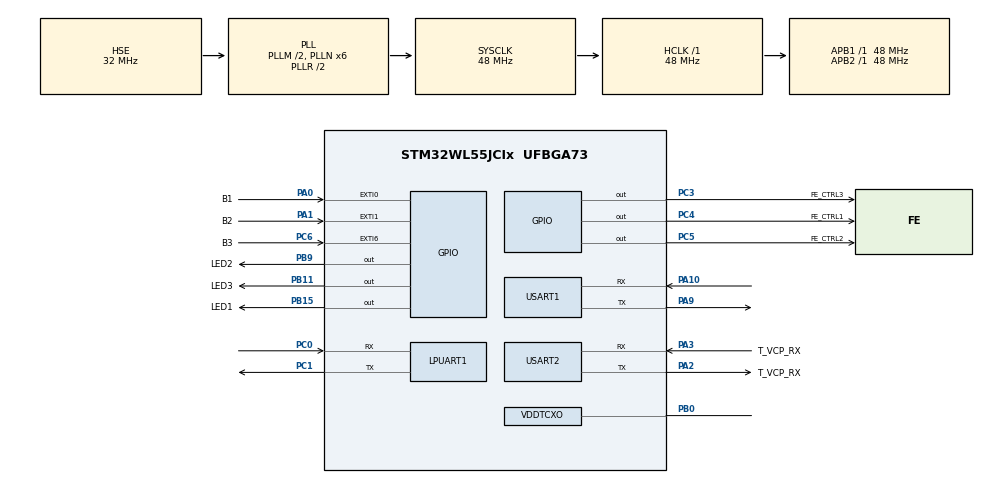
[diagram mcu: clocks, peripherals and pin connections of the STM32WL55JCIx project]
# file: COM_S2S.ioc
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Dma.LPUART1_RX.0.Channel_PRIV_NPRIV=DMA_CHANNEL_NPRIV_DISABLE
Dma.LPUART1_RX.0.Direction=DMA_PERIPH_TO_MEMORY
Dma.LPUART1_RX.0.EventEnable=DISABLE
Dma.LPUART1_RX.0.Instance=DMA1_Channel1
Dma.LPUART1_RX.0.MemDataAlignment=DMA_MDATAALIGN_BYTE
Dma.LPUART1_RX.0.MemInc=DMA_MINC_ENABLE
Dma.LPUART1_RX.0.Mode=DMA_NORMAL
Dma.LPUART1_RX.0.PeriphDataAlignment=DMA_PDATAALIGN_BYTE
Dma.LPUART1_RX.0.PeriphInc=DMA_PINC_DISABLE
Dma.LPUART1_RX.0.Polarity=HAL_DMAMUX_REQ_GEN_RISING
Dma.LPUART1_RX.0.Priority=DMA_PRIORITY_LOW
Dma.LPUART1_RX.0.RequestNumber=1
Dma.LPUART1_RX.0.SignalID=NONE
Dma.LPUART1_RX.0.SyncEnable=DISABLE
Dma.LPUART1_RX.0.SyncPolarity=HAL_DMAMUX_SYNC_NO_EVENT
Dma.LPUART1_RX.0.SyncRequestNumber=1
Dma.LPUART1_RX.0.SyncSignalID=NONE
Dma.LPUART1_TX.1.Channel_PRIV_NPRIV=DMA_CHANNEL_NPRIV_DISABLE
Dma.LPUART1_TX.1.Direction=DMA_MEMORY_TO_PERIPH
Dma.LPUART1_TX.1.EventEnable=DISABLE
Dma.LPUART1_TX.1.Instance=DMA1_Channel2
Dma.LPUART1_TX.1.MemDataAlignment=DMA_MDATAALIGN_BYTE
Dma.LPUART1_TX.1.MemInc=DMA_MINC_ENABLE
Dma.LPUART1_TX.1.Mode=DMA_NORMAL
Dma.LPUART1_TX.1.PeriphDataAlignment=DMA_PDATAALIGN_BYTE
Dma.LPUART1_TX.1.PeriphInc=DMA_PINC_DISABLE
Dma.LPUART1_TX.1.Polarity=HAL_DMAMUX_REQ_GEN_RISING
Dma.LPUART1_TX.1.Priority=DMA_PRIORITY_LOW
Dma.LPUART1_TX.1.RequestNumber=1
Dma.LPUART1_TX.1.SignalID=NONE
Dma.LPUART1_TX.1.SyncEnable=DISABLE
Dma.LPUART1_TX.1.SyncPolarity=HAL_DMAMUX_SYNC_NO_EVENT
Dma.LPUART1_TX.1.SyncRequestNumber=1
Dma.LPUART1_TX.1.SyncSignalID=NONE
Dma.Request0=LPUART1_RX
Dma.Request1=LPUART1_TX
Dma.Request2=USART2_RX
Dma.Request3=USART2_TX
Dma.USART2_RX.2.Channel_PRIV_NPRIV=DMA_CHANNEL_NPRIV_DISABLE
Dma.USART2_RX.2.Direction=DMA_PERIPH_TO_MEMORY
Dma.USART2_RX.2.EventEnable=DISABLE
Dma.USART2_RX.2.Instance=DMA1_Channel3
Dma.USART2_RX.2.MemDataAlignment=DMA_MDATAALIGN_BYTE
Dma.USART2_RX.2.MemInc=DMA_MINC_ENABLE
Dma.USART2_RX.2.Mode=DMA_NORMAL
Dma.USART2_RX.2.PeriphDataAlignment=DMA_PDATAALIGN_BYTE
Dma.USART2_RX.2.PeriphInc=DMA_PINC_DISABLE
Dma.USART2_RX.2.Polarity=HAL_DMAMUX_REQ_GEN_RISING
Dma.USART2_RX.2.Priority=DMA_PRIORITY_LOW
Dma.USART2_RX.2.RequestNumber=1
Dma.USART2_RX.2.SignalID=NONE
Dma.USART2_RX.2.SyncEnable=DISABLE
Dma.USART2_RX.2.SyncPolarity=HAL_DMAMUX_SYNC_NO_EVENT
Dma.USART2_RX.2.SyncRequestNumber=1
Dma.USART2_RX.2.SyncSignalID=NONE
Dma.USART2_TX.3.Channel_PRIV_NPRIV=DMA_CHANNEL_NPRIV_DISABLE
Dma.USART2_TX.3.Direction=DMA_MEMORY_TO_PERIPH
Dma.USART2_TX.3.EventEnable=DISABLE
Dma.USART2_TX.3.Instance=DMA1_Channel4
Dma.USART2_TX.3.MemDataAlignment=DMA_MDATAALIGN_BYTE
Dma.USART2_TX.3.MemInc=DMA_MINC_ENABLE
Dma.USART2_TX.3.Mode=DMA_NORMAL
Dma.USART2_TX.3.PeriphDataAlignment=DMA_PDATAALIGN_BYTE
Dma.USART2_TX.3.PeriphInc=DMA_PINC_DISABLE
Dma.USART2_TX.3.Polarity=HAL_DMAMUX_REQ_GEN_RISING
Dma.USART2_TX.3.Priority=DMA_PRIORITY_LOW
Dma.USART2_TX.3.RequestNumber=1
Dma.USART2_TX.3.SignalID=NONE
Dma.USART2_TX.3.SyncEnable=DISABLE
Dma.USART2_TX.3.SyncPolarity=HAL_DMAMUX_SYNC_NO_EVENT
Dma.USART2_TX.3.SyncRequestNumber=1
Dma.USART2_TX.3.SyncSignalID=NONE
Mcu.Family=STM32WL
Mcu.Name=STM32WL55JCIx
Mcu.Package=UFBGA73
NVIC.DMA1_Channel1_IRQn=true\:0\:0\:false\:false\:true\:false\:true\:true
NVIC.DMA1_Channel2_IRQn=true\:0\:0\:false\:false\:true\:false\:true\:true
NVIC.DMA1_Channel3_IRQn=true\:0\:0\:false\:false\:true\:false\:true\:true
NVIC.DMA1_Channel4_IRQn=true\:0\:0\:false\:false\:true\:false\:true\:true
NVIC.LPUART1_IRQn=true\:0\:0\:false\:false\:true\:true\:true\:true
NVIC.PriorityGroup=NVIC_PRIORITYGROUP_4
NVIC.SUBGHZ_Radio_IRQn=true\:0\:0\:false\:false\:true\:true\:true\:true
NVIC.USART1_IRQn=true\:0\:0\:false\:false\:true\:true\:true\:true
NVIC.USART2_IRQn=true\:0\:0\:false\:false\:true\:true\:true\:true
OSC_IN.Mode=HSE-TCXO
OSC_IN.Signal=RCC_OSC_IN
PA0.GPIO_Label=B1
PA0.GPIO_ModeDefaultEXTI=GPIO_MODE_IT_FALLING
PA0.GPIO_PuPd=GPIO_PULLUP
PA0.Signal=GPXTI0
PA1.GPIO_Label=B2
PA1.GPIO_ModeDefaultEXTI=GPIO_MODE_IT_FALLING
PA1.GPIO_PuPd=GPIO_PULLUP
PA1.Signal=GPXTI1
PA10.Mode=Asynchronous
PA10.Signal=USART1_RX
PA13.Mode=Serial_Wire
PA13.Signal=DEBUG_JTMS-SWDIO
PA14.Mode=Serial_Wire
PA14.Signal=DEBUG_JTCK-SWCLK
PA2.GPIO_Label=T_VCP_RX
PA2.Mode=Asynchronous
PA2.Signal=USART2_TX
PA3.GPIO_Label=T_VCP_RX
PA3.Mode=Asynchronous
PA3.Signal=USART2_RX
PA9.Mode=Asynchronous
PA9.Signal=USART1_TX
PB0-VDD_TCXO.Mode=HSE-TCXO
PB0-VDD_TCXO.Signal=VDDTCXO
PB11.GPIO_Label=LED3
PB11.GPIO_Speed=GPIO_SPEED_FREQ_HIGH
PB11.Signal=GPIO_Output
PB15.GPIO_Label=LED1
PB15.GPIO_Speed=GPIO_SPEED_FREQ_HIGH
PB15.Signal=GPIO_Output
PB9.GPIO_FM9=__NULL
PB9.GPIO_Label=LED2
PB9.GPIO_Speed=GPIO_SPEED_FREQ_HIGH
PB9.Signal=GPIO_Output
PC0.Mode=Asynchronous
PC0.Signal=LPUART1_RX
PC1.Mode=Asynchronous
PC1.Signal=LPUART1_TX
PC14-OSC32_IN.Signal=RCC_OSC32_IN
PC15-OSC32_OUT.Signal=RCC_OSC32_OUT
PC3.GPIO_Label=FE_CTRL3
PC3.GPIO_Speed=GPIO_SPEED_FREQ_VERY_HIGH
PC3.Signal=GPIO_Output
PC4.GPIO_Label=FE_CTRL1
PC4.GPIO_Speed=GPIO_SPEED_FREQ_VERY_HIGH
PC4.Signal=GPIO_Output
PC5.GPIO_Label=FE_CTRL2
PC5.GPIO_Speed=GPIO_SPEED_FREQ_VERY_HIGH
PC5.Signal=GPIO_Output
PC6.GPIO_Label=B3
PC6.GPIO_ModeDefaultEXTI=GPIO_MODE_IT_FALLING
PC6.GPIO_PuPd=GPIO_PULLUP
PC6.Signal=GPXTI6
ProjectManager.HeapSize=0x200
ProjectManager.StackSize=0x400
ProjectManager.TargetToolchain=STM32CubeIDE
RCC.AHBFreq_Value=48000000
RCC.APB1Freq_Value=48000000
RCC.APB1TimFreq_Value=48000000
RCC.APB2Freq_Value=48000000
RCC.APB2TimFreq_Value=48000000
RCC.APB3Freq_Value=48000000
RCC.CortexFreq_Value=48000000
RCC.HCLKFreq_Value=48000000
RCC.HSE_VALUE=32000000
RCC.HSI_VALUE=16000000
RCC.LSE_VALUE=32768
RCC.PLLM=RCC_PLLM_DIV2
RCC.PLLN=6
RCC.PLLSourceVirtual=RCC_PLLSOURCE_HSE
RCC.SYSCLKFreq_VALUE=48000000
RCC.SYSCLKSource=RCC_SYSCLKSOURCE_PLLCLK
RCC.VCOOutputFreq_Value=96000000
TIM2.Period=1000001-1
TIM2.Prescaler=48-1
USART1.VirtualMode-Asynchronous=VM_ASYNC
USART2.VirtualMode-Asynchronous=VM_ASYNC
VP_ADV_TRACE_VS_ADV_TRACE.Mode=ADV_TRACE_Enabled
VP_MISC_VS_MISC.Mode=MISC_Enabled
VP_SEQUENCER_M4_VS_SEQUENCER.Mode=SEQUENCER_Enabled
VP_SUBGHZ_PHY_VS_SubGhzPhy.Mode=SubGhzPhy_Enabled
VP_SUBGHZ_VS_SUBGHZ.Mode=SUBGHZ_Activate
VP_TIM2_VS_ClockSourceINT.Mode=Internal
VP_TIMER_VS_TIMER.Mode=TIMER_Enabled
VP_TINY_LPM_VS_TINY_LPM.Mode=TINY_LPM_Enabled
board=NUCLEO-WL55JC2

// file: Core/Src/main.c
/* USER CODE BEGIN Header */
/**
 ******************************************************************************
 * @file           : main.c
 * @brief          : Main program body
 ******************************************************************************
 * @attention
 *
 * Copyright (c) 2024 STMicroelectronics.
 * All rights reserved.
 *
 * This software is licensed under terms that can be found in the LICENSE file
 * in the root directory of this software component.
 * If no LICENSE file comes with this software, it is provided AS-IS.
 *
 ******************************************************************************
 */
/* USER CODE END Header */
#include "main.h"
#include "dma.h"
#include "usart.h"
#include "app_subghz_phy.h"
#include "tim.h"
#include "gpio.h"

/* USER CODE BEGIN Includes */
#include "radio_driver.h"
#include "com_debug.h"
#include "error_handler.h"
#include "ax25_generator.h"
#include "obc_interface.h"
/* USER CODE END Includes */

/* USER CODE BEGIN PTD */

#define RX_BUFF_LENGTH		(100)
#define OBC_PAYLOAD_LENGTH	(85)

#define FREQ_435_MHZ            (435313000) //UP-LINK
#define FREQ_437_MHZ			(437375000)	//DOWN-LINK

#define PA_DUTY_CYCLE           (0x04)
#define HP_MAX                  (0x00)
#define PA_SEL                  (0x01)

#define POWER                   (0x0E)
#define RAMP_TIME               (0x02)

#define DEMO_DEFAULT_BR_1200            1200
#define DEMO_DEFAULT_FDEV_1200          3000

#define DEMO_DEFAULT_BR_4800            4800
#define DEMO_DEFAULT_FDEV_4800          12000
/* USER CODE END PTD */

/* USER CODE BEGIN PD */
PacketParams_t pkt_params;
ModulationParams_t mod_params;
/* USER CODE END PD */

/* USER CODE BEGIN PV */

uint8_t rx_buffer_len = RX_BUFF_LENGTH;
uint8_t rx_buffer[RX_BUFF_LENGTH];

uint8_t rssi_value = 0;

uint8_t obc_plen = OBC_PAYLOAD_LENGTH;
uint8_t obc_ilen = 0;

uint8_t OBC_UART_RX[OBC_PAYLOAD_LENGTH];

int OBC_SUCCESS_DATA_RX_FLAG = 0;

uint8_t temp_tx_buffer[150];
uint8_t tx_buffer[150];
int tx_buffer_len = 0;

int OBC_HANDSHAKE_FLAG = 0;

int DIGIPEATER_STATUS = 0;
int BEACON_COUNT = 2;
int COUNT_BEACON = 2;

uint8_t PACKET_TYPE = 0;
int DIGIPEATER_FLAG = 0;
int DIGIPEATER_RX_FLAG = 0;

int packet_type_true = 0;

/* USER CODE END PV */

void SystemClock_Config(void);
/* USER CODE BEGIN PFP */
void DioIrqHndlr(RadioIrqMasks_t radioIrq);
int countsDataBetweenFlags(uint8_t *data, int data_length);
/* USER CODE END PFP */

/* USER CODE BEGIN 0 */
int countsDataBetweenFlags(uint8_t *data, int data_length) {
	int found_first_7e = 0;
	int start_index = 0, end_index = 0;

	for (int i = 0; i < data_length; i++) {
		if (data[i] == 0x7e) {
			if (!found_first_7e) {
				found_first_7e = 1;
				start_index = i;
			} else {
				end_index = i;
				break;
			}
		}
	}

	if (end_index > start_index) {
		return end_index - start_index + 1;
	} else {
		return -1; // Return -1 if two 0x7E flags are not found
	}
}
/* USER CODE END 0 */

int main(void) {

	/* MCU Configuration--------------------------------------------------------*/

	/* Reset of all peripherals, Initializes the Flash interface and the Systick. */
	HAL_Init();

	/* Configure the system clock */
	SystemClock_Config();

	/* Initialize all configured peripherals */
	MX_GPIO_Init();
	MX_DMA_Init();
	MX_USART2_UART_Init();
	MX_LPUART1_UART_Init();
	MX_TIM2_Init();
	MX_USART1_UART_Init();
	MX_SubGHz_Phy_Init();
	/* USER CODE BEGIN 2 */

	HAL_TIM_Base_Start(&htim2);

	myDebug("########## Slippers2Sat SATELLITE COM: BEGIN ##########\r\n");
	myDebug("########## COMMUNICATION PARAMETERS ##########\r\n");
	myDebug("Modulation: GFSK PACKET\r\n");
	myDebug("FREQUENCY MODES: DOWNLINK FREQ: %luHz and UPLINK FREQ: %lu Hz\r\n",
	FREQ_437_MHZ, FREQ_435_MHZ);
	myDebug("STM32 BSP_SubGHz-WL Radio: Low Power\n");
	myDebug(
			"POWER CONFIG:::- \n"
					"\t PA_DUTY_CYCLE: %x, HP_MAX: %x, PA_SEL: %x, POWER TX: %u dBm\r\n",
			PA_DUTY_CYCLE, HP_MAX, PA_SEL, POWER);

	myDebug("\n########## Wait for Handshake ##########\r\n");

	pkt_params.PacketType = PACKET_TYPE_GFSK;
	pkt_params.Params.Gfsk.PayloadLength = RX_BUFF_LENGTH;
	pkt_params.Params.Gfsk.PreambleLength = 8; /*Convert byte into bit*/
	pkt_params.Params.Gfsk.PreambleMinDetect = RADIO_PREAMBLE_DETECTOR_08_BITS;
	pkt_params.Params.Gfsk.SyncWordLength = 3 << 3; // convert byte into bit
	pkt_params.Params.Gfsk.AddrComp = RADIO_ADDRESSCOMP_FILT_OFF;
	pkt_params.Params.Gfsk.HeaderType = RADIO_PACKET_FIXED_LENGTH;
	pkt_params.Params.Gfsk.CrcLength = RADIO_CRC_2_BYTES_CCIT;
	pkt_params.Params.Gfsk.DcFree = RADIO_DC_FREEWHITENING;

	mod_params.PacketType = PACKET_TYPE_GFSK;
	mod_params.Params.Gfsk.Bandwidth = RX_BW_29300; /*Not used in TX*/
	mod_params.Params.Gfsk.BitRate = DEMO_DEFAULT_BR_1200;
	mod_params.Params.Gfsk.Fdev = DEMO_DEFAULT_FDEV_1200;
	mod_params.Params.Gfsk.ModulationShaping = MOD_SHAPING_G_BT_1;

	SUBGRF_Init(DioIrqHndlr);
	SUBGRF_SetBufferBaseAddress(0x00, 0x00);
	SUBGRF_SetPacketParams(&pkt_params);
	SUBGRF_SetSyncWord(( uint8_t[] ) { 0xC1, 0x94, 0xC1, 0x00, 0x00, 0x00, 0x00,
					0x00 });
	SUBGRF_SetWhiteningSeed(0x01FF);
	SUBGRF_SetRfFrequency(FREQ_435_MHZ);
	SUBGRF_SetPaConfig(PA_DUTY_CYCLE, HP_MAX, PA_SEL, 0x01);
	SUBGRF_SetTxParams(RFO_LP, POWER, RAMP_TIME); // Set to RFO_LP for low power
	SUBGRF_SetModulationParams(&mod_params);
	SUBGRF_SetDioIrqParams(
			IRQ_TX_DONE | IRQ_PREAMBLE_DETECTED | IRQ_RX_DONE
					| IRQ_RX_TX_TIMEOUT | IRQ_SYNCWORD_VALID,
			IRQ_TX_DONE | IRQ_PREAMBLE_DETECTED | IRQ_RX_DONE
					| IRQ_RX_TX_TIMEOUT | IRQ_SYNCWORD_VALID, IRQ_RADIO_NONE,
			IRQ_RADIO_NONE);

	while (OBC_HANDSHAKE_FLAG == 0) {
		WAIT_FOR_HANDSHAKE();
	}

	myDebug(
			"\n########## Operation Starts, Perform any one operation: ##########\r\n");
	myDebug("1. Transmit from Satellite\r\n");
	myDebug("2. Wait to receive GS Command\r\n");

	myDebug("\n########## RX Configuration: ##########\n");

	myDebug("FREQUENCY MODS: UPLINK FREQ: %lu Hz\r\n", FREQ_435_MHZ);
	myDebug("Bit Rate: 	%d\n\r", mod_params.Params.Gfsk.BitRate);
	myDebug("Frequency Deviation: 	%d\n\r", mod_params.Params.Gfsk.Fdev);
	myDebug("RECEVING BANDWIDTH: 	%d\n\r", mod_params.Params.Gfsk.Bandwidth);
	myDebug("Packet Type 			%d\n\r", pkt_params.PacketType);
	myDebug("PayloadLength 			%d\n\r", pkt_params.Params.Gfsk.PayloadLength);
	myDebug("PreambleLength 		%d\n\r", pkt_params.Params.Gfsk.PreambleLength);
	myDebug("PreambleMinDetect		%d\n\r",
			pkt_params.Params.Gfsk.PreambleMinDetect);
	myDebug("HeaderType 			%d\n\r", pkt_params.Params.Gfsk.HeaderType);
	myDebug("__________*******************__________\r\n");

	SUBGRF_SetRfFrequency(FREQ_435_MHZ);
	SUBGRF_SetSwitch(RFO_LP, RFSWITCH_RX); /*Set RF switch*/
	SUBGRF_SetRxBoosted(0xFFFFFF);

	HAL_UART_Receive_DMA(&huart2, OBC_UART_RX, obc_plen);

	HAL_UART_Receive_DMA(&hlpuart1, OBC_UART_RX, obc_plen);

	/* USER CODE END 2 */

	/* Infinite loop */
	/* USER CODE BEGIN WHILE */
	while (1) {

		delay_us(500000);

		if (OBC_SUCCESS_DATA_RX_FLAG) {

			getAX25Packet(OBC_UART_RX, obc_ilen);

			tx_buffer_len = countsDataBetweenFlags(temp_tx_buffer,
					sizeof(temp_tx_buffer));

//			myDebug("AX.25 complete GS packet ready to TX: 0x%x\r\n", temp_tx_buffer);
			for (int j = 0; j < tx_buffer_len; j++) {
				tx_buffer[j] = temp_tx_buffer[j];
//				myDebug("%02x ", tx_buffer[j]);
			}
//			myDebug("\r\n");

//			myDebug("size of tx_buffer = %d\r\n", tx_buffer_len);

			memset(OBC_UART_RX, '\0', obc_ilen);
			memset(temp_tx_buffer, '\0', sizeof(temp_tx_buffer));

			pkt_params.PacketType = PACKET_TYPE_GFSK;
			pkt_params.Params.Gfsk.PayloadLength = tx_buffer_len;
			pkt_params.Params.Gfsk.PreambleLength = 8; /*Convert byte into bit*/
			pkt_params.Params.Gfsk.PreambleMinDetect =
					RADIO_PREAMBLE_DETECTOR_08_BITS;
			pkt_params.Params.Gfsk.SyncWordLength = 3 << 3; // convert byte into bit
			pkt_params.Params.Gfsk.AddrComp = RADIO_ADDRESSCOMP_FILT_OFF;
			pkt_params.Params.Gfsk.HeaderType = RADIO_PACKET_FIXED_LENGTH;
			pkt_params.Params.Gfsk.CrcLength = RADIO_CRC_2_BYTES_CCIT;
			pkt_params.Params.Gfsk.DcFree = RADIO_DC_FREEWHITENING;

			mod_params.PacketType = PACKET_TYPE_GFSK;
			mod_params.Params.Gfsk.Bandwidth = RX_BW_29300; /*Not used in TX*/
			mod_params.Params.Gfsk.BitRate = DEMO_DEFAULT_BR_4800;
			mod_params.Params.Gfsk.Fdev = DEMO_DEFAULT_FDEV_4800;
			mod_params.Params.Gfsk.ModulationShaping = MOD_SHAPING_G_BT_1;

			SUBGRF_Init(DioIrqHndlr);
			SUBGRF_SetBufferBaseAddress(0x00, 0x00);
			SUBGRF_SetPayload(tx_buffer, tx_buffer_len);
			SUBGRF_SetPacketParams(&pkt_params);
			SUBGRF_SetSyncWord(( uint8_t[] ) { 0xC1, 0x94, 0xC1, 0x00, 0x00,
							0x00, 0x00, 0x00 });
			SUBGRF_SetWhiteningSeed(0x01FF);
			SUBGRF_SetRfFrequency(FREQ_437_MHZ);
			SUBGRF_SetPaConfig(PA_DUTY_CYCLE, HP_MAX, PA_SEL, 0x01);
			SUBGRF_SetTxParams(RFO_LP, POWER, RAMP_TIME); // Set to RFO_LP for low power
			SUBGRF_SetModulationParams(&mod_params);
			SUBGRF_SetDioIrqParams(
					IRQ_TX_DONE | IRQ_PREAMBLE_DETECTED | IRQ_RX_DONE
							| IRQ_RX_TX_TIMEOUT | IRQ_SYNCWORD_VALID,
					IRQ_TX_DONE | IRQ_PREAMBLE_DETECTED | IRQ_RX_DONE
							| IRQ_RX_TX_TIMEOUT | IRQ_SYNCWORD_VALID,
					IRQ_RADIO_NONE, IRQ_RADIO_NONE);

			myDebug("\n########## TX Configuration: ##########\n");

			myDebug("FREQUENCY MODS: DOWNLINK FREQ: %lu Hz\r\n", FREQ_437_MHZ);
			myDebug("Bit Rate: 	%d\n\r", mod_params.Params.Gfsk.BitRate);
			myDebug("Frequency Deviation: 	%d\n\r",
					mod_params.Params.Gfsk.Fdev);
			myDebug("RECEVING BANDWIDTH: 	%d\n\r",
					mod_params.Params.Gfsk.Bandwidth);
			myDebug("Packet Type 			%d\n\r", pkt_params.PacketType);
			myDebug("PayloadLength 			%d\n\r",
					pkt_params.Params.Gfsk.PayloadLength);
			myDebug("PreambleLength 		%d\n\r",
					pkt_params.Params.Gfsk.PreambleLength);
			myDebug("PreambleMinDetect		%d\n\r",
					pkt_params.Params.Gfsk.PreambleMinDetect);
			myDebug("HeaderType 			%d\n\r", pkt_params.Params.Gfsk.HeaderType);
			myDebug("__________*******************__________\r\n");

			SUBGRF_SetRfFrequency(FREQ_437_MHZ);
			//SUBGRF_SetSwitch(RFO_HP, RFSWITCH_TX); /*Set RF switch*/
			SUBGRF_SetSwitch(RFO_LP, RFSWITCH_TX); /*Set RF switch*/
			SUBGRF_SendPayload(tx_buffer, tx_buffer_len, 0);
		}

		/* USER CODE END WHILE */
		MX_SubGHz_Phy_Process();

	}
}

void SystemClock_Config(void) {
	RCC_OscInitTypeDef RCC_OscInitStruct = { 0 };
	RCC_ClkInitTypeDef RCC_ClkInitStruct = { 0 };

	/** Configure the main internal regulator output voltage
	 */
	__HAL_PWR_VOLTAGESCALING_CONFIG(PWR_REGULATOR_VOLTAGE_SCALE1);

	/** Initializes the CPU, AHB and APB buses clocks
	 */
	RCC_OscInitStruct.OscillatorType = RCC_OSCILLATORTYPE_HSE;
	RCC_OscInitStruct.HSEState = RCC_HSE_BYPASS_PWR;
	RCC_OscInitStruct.HSEDiv = RCC_HSE_DIV1;
	RCC_OscInitStruct.PLL.PLLState = RCC_PLL_ON;
	RCC_OscInitStruct.PLL.PLLSource = RCC_PLLSOURCE_HSE;
	RCC_OscInitStruct.PLL.PLLM = RCC_PLLM_DIV2;
	RCC_OscInitStruct.PLL.PLLN = 6;
	RCC_OscInitStruct.PLL.PLLP = RCC_PLLP_DIV2;
	RCC_OscInitStruct.PLL.PLLR = RCC_PLLR_DIV2;
	RCC_OscInitStruct.PLL.PLLQ = RCC_PLLQ_DIV2;
	if (HAL_RCC_OscConfig(&RCC_OscInitStruct) != HAL_OK) {
		Error_Handler();
	}

	/** Configure the SYSCLKSource, HCLK, PCLK1 and PCLK2 clocks dividers
	 */
	RCC_ClkInitStruct.ClockType = RCC_CLOCKTYPE_HCLK3 | RCC_CLOCKTYPE_HCLK
			| RCC_CLOCKTYPE_SYSCLK | RCC_CLOCKTYPE_PCLK1 | RCC_CLOCKTYPE_PCLK2;
	RCC_ClkInitStruct.SYSCLKSource = RCC_SYSCLKSOURCE_PLLCLK;
	RCC_ClkInitStruct.AHBCLKDivider = RCC_SYSCLK_DIV1;
	RCC_ClkInitStruct.APB1CLKDivider = RCC_HCLK_DIV1;
	RCC_ClkInitStruct.APB2CLKDivider = RCC_HCLK_DIV1;
	RCC_ClkInitStruct.AHBCLK3Divider = RCC_SYSCLK_DIV1;

	if (HAL_RCC_ClockConfig(&RCC_ClkInitStruct, FLASH_LATENCY_2) != HAL_OK) {
		Error_Handler();
	}
}

/* USER CODE BEGIN 4 */

void HAL_UART_RxCpltCallback(UART_HandleTypeDef *huart) {
	if (huart == &huart2 || huart == &hlpuart1 || huart == &huart1) {

		if (OBC_HANDSHAKE_FLAG) {

			uint8_t header = 0x00;

			if (OBC_UART_RX[0] == header || OBC_UART_RX[0] != 0x53) {

				for (int loop1 = 0; loop1 < sizeof(OBC_UART_RX); loop1++) {
					OBC_UART_RX[loop1] = OBC_UART_RX[loop1 + 1];
				}
			}

			packet_type_true = check_packet_type(OBC_UART_RX);

			if (packet_type_true) {

				if (DIGIPEATER_STATUS == 1 && BEACON_COUNT == 0
						&& DIGIPEATER_RX_FLAG == 1) {
					OBC_SUCCESS_DATA_RX_FLAG = 0;

//					myDebug("\n--> Digipeater Data Received from OBC: 0x%x\r\n",
//							OBC_UART_RX);
//					for (int i = 0; i < sizeof(OBC_UART_RX); i++) {
//						myDebug("%02x ", OBC_UART_RX[i]);
//					}
//					myDebug("\r\n");

					if (OBC_UART_RX[0] == 0x53 && OBC_UART_RX[83] == 0x7E) {
						myDebug(
								"--> Correct Digipeater Data received from OBC\n");
						obc_ilen = OBC_UART_RX[2];  //len of info
						PACKET_TYPE = OBC_UART_RX[1]; //packet_type
						DIGIPEATER_FLAG = 1;

						getAX25Packet(OBC_UART_RX, obc_ilen);

						tx_buffer_len = countsDataBetweenFlags(temp_tx_buffer,
								sizeof(temp_tx_buffer));

//						myDebug("Digipeater Packet complete, ready to TX: 0x%x\r\n", temp_tx_buffer);
						for (int j = 0; j < tx_buffer_len; j++) {
							tx_buffer[j] = temp_tx_buffer[j];
//							myDebug("%02x ", tx_buffer[j]);
						}
//						myDebug("\r\n");

//						myDebug("size of tx_buffer = %d\r\n", tx_buffer_len);

						memset(OBC_UART_RX, '\0', obc_ilen);
						memset(temp_tx_buffer, '\0', sizeof(temp_tx_buffer));

						delay_us(500000);

						pkt_params.PacketType = PACKET_TYPE_GFSK;
						pkt_params.Params.Gfsk.PayloadLength = tx_buffer_len;
						pkt_params.Params.Gfsk.PreambleLength = 8; /*Convert byte into bit*/
						pkt_params.Params.Gfsk.PreambleMinDetect =
								RADIO_PREAMBLE_DETECTOR_08_BITS;
						pkt_params.Params.Gfsk.SyncWordLength = 3 << 3; // convert byte into bit
						pkt_params.Params.Gfsk.AddrComp =
								RADIO_ADDRESSCOMP_FILT_OFF;
						pkt_params.Params.Gfsk.HeaderType =
								RADIO_PACKET_FIXED_LENGTH;
						pkt_params.Params.Gfsk.CrcLength =
								RADIO_CRC_2_BYTES_CCIT;
						pkt_params.Params.Gfsk.DcFree = RADIO_DC_FREEWHITENING;

						mod_params.PacketType = PACKET_TYPE_GFSK;
						mod_params.Params.Gfsk.Bandwidth = RX_BW_29300; /*Not used in TX*/
						mod_params.Params.Gfsk.BitRate = DEMO_DEFAULT_BR_1200;
						mod_params.Params.Gfsk.Fdev = DEMO_DEFAULT_FDEV_1200;
						mod_params.Params.Gfsk.ModulationShaping =
								MOD_SHAPING_G_BT_1;

						SUBGRF_Init(DioIrqHndlr);
						SUBGRF_SetBufferBaseAddress(0x00, 0x00);
						SUBGRF_SetPayload(tx_buffer, tx_buffer_len);
						SUBGRF_SetPacketParams(&pkt_params);
						SUBGRF_SetSyncWord(( uint8_t[] ) { 0xC1, 0x94, 0xC1,
										0x00, 0x00, 0x00, 0x00, 0x00 });
						SUBGRF_SetWhiteningSeed(0x01FF);
						SUBGRF_SetRfFrequency(FREQ_437_MHZ);
						SUBGRF_SetPaConfig(PA_DUTY_CYCLE, HP_MAX, PA_SEL, 0x01);
						SUBGRF_SetTxParams(RFO_LP, POWER, RAMP_TIME); // Set to RFO_LP for low power
						SUBGRF_SetModulationParams(&mod_params);
						SUBGRF_SetDioIrqParams(
								IRQ_TX_DONE | IRQ_PREAMBLE_DETECTED
										| IRQ_RX_DONE | IRQ_RX_TX_TIMEOUT
										| IRQ_SYNCWORD_VALID,
								IRQ_TX_DONE | IRQ_PREAMBLE_DETECTED
										| IRQ_RX_DONE | IRQ_RX_TX_TIMEOUT
										| IRQ_SYNCWORD_VALID, IRQ_RADIO_NONE,
								IRQ_RADIO_NONE);

						myDebug("\n########## TX Configuration: ##########\n");

						myDebug("FREQUENCY MODS: DOWNLINK FREQ: %lu Hz\r\n",
						FREQ_437_MHZ);
						myDebug("Bit Rate: 	%d\n\r",
								mod_params.Params.Gfsk.BitRate);
						myDebug("Frequency Deviation: 	%d\n\r",
								mod_params.Params.Gfsk.Fdev);
						myDebug("RECEVING BANDWIDTH: 	%d\n\r",
								mod_params.Params.Gfsk.Bandwidth);
						myDebug("Packet Type 			%d\n\r", pkt_params.PacketType);
						myDebug("PayloadLength 			%d\n\r",
								pkt_params.Params.Gfsk.PayloadLength);
						myDebug("PreambleLength 		%d\n\r",
								pkt_params.Params.Gfsk.PreambleLength);
						myDebug("PreambleMinDetect		%d\n\r",
								pkt_params.Params.Gfsk.PreambleMinDetect);
						myDebug("HeaderType 			%d\n\r",
								pkt_params.Params.Gfsk.HeaderType);
						myDebug("__________*******************__________\r\n");

						SUBGRF_SetRfFrequency(FREQ_437_MHZ);
						//SUBGRF_SetSwitch(RFO_HP, RFSWITCH_TX); /*Set RF switch*/
						SUBGRF_SetSwitch(RFO_LP, RFSWITCH_TX); /*Set RF switch*/
						SUBGRF_SendPayload(tx_buffer, tx_buffer_len, 0);

					} else {
						myDebug(
								"*** Incorrect Digipeater Data received from OBC\n");
						if (HAL_UART_Transmit(&huart2, OBC_UART_RX, obc_plen,
								2000) == HAL_OK
								|| HAL_UART_Transmit(&hlpuart1, OBC_UART_RX,
										obc_plen, 2000) == HAL_OK) {
							myDebug(
									"*** Incorrect Digipeater Data re-transmit to OBC, Length: %d\r\n",
									sizeof(OBC_UART_RX));

							for (int i = 0; i < sizeof(OBC_UART_RX); i++) {
								myDebug("%02x ", OBC_UART_RX[i]);
							}

							myDebug("\r\n");

							memset(OBC_UART_RX, '\0', sizeof(OBC_UART_RX));

							OBC_SUCCESS_DATA_RX_FLAG = 0;
							DIGIPEATER_FLAG = 0;
						}
					}

				} else {

//					myDebug("\n--> Command Received from OBC: 0x%x\r\n",
//							OBC_UART_RX);
//					for (int i = 0; i < sizeof(OBC_UART_RX); i++) {
//						myDebug("%02x ", OBC_UART_RX[i]);
//					}
//					myDebug("\r\n");

					if (OBC_UART_RX[0] == 0x53 && OBC_UART_RX[(83)] == 0x7E) {
//						myDebug("--> Correct command received from OBC\n");
						obc_ilen = OBC_UART_RX[2];  //len of info
						PACKET_TYPE = OBC_UART_RX[1]; //packet_type

						if (PACKET_TYPE == 0xB1) {
							BEACON_COUNT = 2;
							COUNT_BEACON = 2;
						}

						OBC_SUCCESS_DATA_RX_FLAG = 1;
					} else {
						myDebug("*** Incorrect command received from OBC\n");
						if (HAL_UART_Transmit(&huart2, OBC_UART_RX, obc_plen,
								2000) == HAL_OK
								|| HAL_UART_Transmit(&hlpuart1, OBC_UART_RX,
										obc_plen, 2000) == HAL_OK) {
							myDebug(
									"*** Incorrect command re-transmit to OBC, Length: %d\r\n",
									sizeof(OBC_UART_RX));

							for (int i = 0; i < sizeof(OBC_UART_RX); i++) {
								myDebug("%02x ", OBC_UART_RX[i]);
							}

							myDebug("\r\n");

							memset(OBC_UART_RX, '\0', sizeof(OBC_UART_RX));

							OBC_SUCCESS_DATA_RX_FLAG = 0;
						}
					}
				}
			} else {
				myDebug("*** Incorrect packet type received from OBC\n");

				if (HAL_UART_Transmit(&huart2, OBC_UART_RX, obc_plen, 2000)
						== HAL_OK
						|| HAL_UART_Transmit(&hlpuart1, OBC_UART_RX, obc_plen,
								2000) == HAL_OK) {

					myDebug(
							"*** Incorrect command re-transmit to OBC, Length: %d\r\n",
							sizeof(OBC_UART_RX));

					for (int i = 0; i < sizeof(OBC_UART_RX); i++) {
						myDebug("%02x ", OBC_UART_RX[i]);
					}

					myDebug("\r\n");

					memset(OBC_UART_RX, '\0', sizeof(OBC_UART_RX));

					OBC_SUCCESS_DATA_RX_FLAG = 0;
				}

			}

			HAL_UART_Receive_DMA(&huart2, OBC_UART_RX, obc_plen);

			HAL_UART_Receive_DMA(&hlpuart1, OBC_UART_RX, obc_plen);
		}
	}
}

void DioIrqHndlr(RadioIrqMasks_t radioIrq) {
	if (radioIrq == IRQ_RX_DONE) {
		SUBGRF_GetPayload(rx_buffer, &rx_buffer_len, RX_BUFF_LENGTH);
		rssi_value = SUBGRF_GetRssiInst();
		myDebug("\nGS Command Received: 0x%x\r\n");

		uint8_t temp_rx_buffer_len = 0;
		temp_rx_buffer_len = countsDataBetweenFlags(rx_buffer, rx_buffer_len);

		if (temp_rx_buffer_len != -1) {

			uint8_t temp_check_buff[temp_rx_buffer_len];
			for (int i = 0; i < temp_rx_buffer_len; i++) {
				temp_check_buff[i] = rx_buffer[i];
				myDebug("%02x ", temp_check_buff[i]);
			}
			myDebug("\r\n");

			memset(rx_buffer, '\0', sizeof(rx_buffer));

			uint8_t crc_buff_len = temp_rx_buffer_len - 4;
			uint8_t crc_buff[crc_buff_len];

//			myDebug("\nGS Command Testing: 0x%x\r\n");

			int j = 0;
			for (int i = 1; i <= crc_buff_len; i++) {
				crc_buff[j] = temp_check_buff[i];
//				myDebug("%02x ", crc_buff[j]);
				j++;
			}
			myDebug("\r\n");

			uint16_t crc = 0;
			crc = calculateCRC_CCITT_AX25(crc_buff, crc_buff_len);

			uint8_t calc_crc[2];
			calc_crc[0] = (crc >> 8) & 0xFF;
			calc_crc[1] = crc & 0xFF;

			uint8_t msb_crc = temp_check_buff[temp_rx_buffer_len - 3];
			uint8_t lsb_crc = temp_check_buff[temp_rx_buffer_len - 2];

			if (calc_crc[0] == msb_crc && calc_crc[1] == lsb_crc) {
//				myDebug("GS Command checksum correct: 0x%x\r\n");

				uint8_t gs_cmd_buff[100];
				int gs_cmd_len = bit_destuffing(crc_buff, gs_cmd_buff,
						crc_buff_len);
				gs_cmd_len--;

				uint8_t main_gs_cmd[gs_cmd_len];
				for (int i = 0; i < gs_cmd_len; i++) {
					main_gs_cmd[i] = gs_cmd_buff[i];
				}

				if (COUNT_BEACON == 1) {

					if ((main_gs_cmd[18] == 0xDF && main_gs_cmd[19] == 0xAB
							&& main_gs_cmd[20] == 0xD1) // Enable Digipeater Mission
							|| (main_gs_cmd[18] == 0x53
									&& main_gs_cmd[19] == 0x02
									&& main_gs_cmd[20] == 0x53)) { // Digipeater Packet

						myDebug("\n********GS Command failed: 0x%x\r\n");

						OBC_UART_RX[0] = 0x53;	//header
						OBC_UART_RX[1] = 0xac;	//packet_ type
						OBC_UART_RX[2] = 0x04;	//length of info
						OBC_UART_RX[3] = 0x02;	//mcu_no
						OBC_UART_RX[4] = 0xfc;	//false command
						OBC_UART_RX[5] = 0xee;	//error prefix
						obc_ilen = OBC_UART_RX[2];

						OBC_SUCCESS_DATA_RX_FLAG = 1;

						memset(main_gs_cmd, '\0', sizeof(main_gs_cmd));

					} else if (main_gs_cmd[18] == 0xFD
							&& main_gs_cmd[19] == 0xBA
							&& main_gs_cmd[20] == 0xD0) {

						BEACON_COUNT = 2;
						OBC_SUCCESS_DATA_RX_FLAG = 0;
						DIGIPEATER_STATUS = 0;
						DIGIPEATER_FLAG = 0;

						myDebug("\n-------> Digipeater MODE OFF\n\n");

						OBC_UART_RX[0] = 0x53;	//header
						OBC_UART_RX[1] = 0xac;	//packet_ type
						OBC_UART_RX[2] = 0x04;	//length of info
						OBC_UART_RX[3] = 0x02;	//mcu_no
						OBC_UART_RX[4] = 0x00;	//Digipeater OFF
						OBC_UART_RX[5] = 0xdd;	//Digipeater prefix
						obc_ilen = OBC_UART_RX[2];

						myDebug("\nCommand sent to OBC, Length: %d\r\n",
								gs_cmd_len);

						if (HAL_UART_Transmit(&huart2, main_gs_cmd,
								sizeof(main_gs_cmd), 2000) == HAL_OK
								|| HAL_UART_Transmit(&hlpuart1, main_gs_cmd,
										sizeof(main_gs_cmd), 2000)) {

							for (int i = 0; i < gs_cmd_len; i++) {
								myDebug("%02x ", main_gs_cmd[i]);
							}

							myDebug("\r\n");

							memset(main_gs_cmd, '\0', sizeof(main_gs_cmd));
							memset(rx_buffer, '\0', sizeof(rx_buffer));
							memset(temp_check_buff, '\0',
									sizeof(temp_check_buff));
							memset(crc_buff, '\0', sizeof(crc_buff));
							memset(gs_cmd_buff, '\0', sizeof(gs_cmd_buff));
						}

						OBC_SUCCESS_DATA_RX_FLAG = 1;

					} else {
						myDebug("\nCommand sent to OBC, Length: %d\r\n",
								gs_cmd_len);
						if (HAL_UART_Transmit(&huart2, main_gs_cmd,
								sizeof(main_gs_cmd), 2000) == HAL_OK
								|| HAL_UART_Transmit(&hlpuart1, main_gs_cmd,
										sizeof(main_gs_cmd), 2000)) {

							for (int i = 0; i < gs_cmd_len; i++) {
								myDebug("%02x ", main_gs_cmd[i]);
							}

							memset(main_gs_cmd, '\0', sizeof(main_gs_cmd));
							memset(rx_buffer, '\0', sizeof(rx_buffer));
							memset(temp_check_buff, '\0',
									sizeof(temp_check_buff));
							memset(crc_buff, '\0', sizeof(crc_buff));
							memset(gs_cmd_buff, '\0', sizeof(gs_cmd_buff));

							myDebug("\n\n_____OBC__RECEIVER_____\r\n");
						}

					}
				} else if (COUNT_BEACON == 0) {
					if (DIGIPEATER_STATUS == 1) {
						if (main_gs_cmd[18] == 0xFD && main_gs_cmd[19] == 0xBA
								&& main_gs_cmd[20] == 0xD0) {

							BEACON_COUNT = 2;
							OBC_SUCCESS_DATA_RX_FLAG = 0;
							DIGIPEATER_STATUS = 0;
							DIGIPEATER_FLAG = 0;

							myDebug("\n-------> Digipeater MODE OFF\n\n");

							OBC_UART_RX[0] = 0x53;	//header
							OBC_UART_RX[1] = 0xac;	//packet_ type
							OBC_UART_RX[2] = 0x04;	//length of info
							OBC_UART_RX[3] = 0x02;	//mcu_no
							OBC_UART_RX[4] = 0x00;	//Digipeater OFF
							OBC_UART_RX[5] = 0xdd;	//Digipeater prefix
							obc_ilen = OBC_UART_RX[2];

							myDebug("\nCommand sent to OBC, Length: %d\r\n",
									gs_cmd_len);

							if (HAL_UART_Transmit(&huart2, main_gs_cmd,
									sizeof(main_gs_cmd), 2000) == HAL_OK
									|| HAL_UART_Transmit(&hlpuart1, main_gs_cmd,
											sizeof(main_gs_cmd), 2000)) {

								for (int i = 0; i < gs_cmd_len; i++) {
									myDebug("%02x ", main_gs_cmd[i]);
								}

								myDebug("\r\n");

								memset(main_gs_cmd, '\0', sizeof(main_gs_cmd));
								memset(rx_buffer, '\0', sizeof(rx_buffer));
								memset(temp_check_buff, '\0',
										sizeof(temp_check_buff));
								memset(crc_buff, '\0', sizeof(crc_buff));
								memset(gs_cmd_buff, '\0', sizeof(gs_cmd_buff));
							}

							OBC_SUCCESS_DATA_RX_FLAG = 1;

						} else if (main_gs_cmd[18] == 0x53
								&& main_gs_cmd[19] == 0x02
								&& main_gs_cmd[20] == 0x53) { // if digipeater packet
							myDebug(
									"\nDigipeater packet sent to OBC, Length: %d\r\n",
									gs_cmd_len);
							if (HAL_UART_Transmit(&huart2, main_gs_cmd,
									sizeof(main_gs_cmd), 2000) == HAL_OK
									|| HAL_UART_Transmit(&hlpuart1, main_gs_cmd,
											sizeof(main_gs_cmd), 2000)) {

								for (int i = 0; i < gs_cmd_len; i++) {
									myDebug("%02x ", main_gs_cmd[i]);
								}

								myDebug("\r\n");

								memset(main_gs_cmd, '\0', sizeof(main_gs_cmd));
								memset(rx_buffer, '\0', sizeof(rx_buffer));
								memset(temp_check_buff, '\0',
										sizeof(temp_check_buff));
								memset(crc_buff, '\0', sizeof(crc_buff));
								memset(gs_cmd_buff, '\0', sizeof(gs_cmd_buff));

								myDebug(
										"\n\n_____DIGIPEATER_OBC__RECEIVER_____\r\n");
							}
						} else {
							myDebug("\n********GS Command failed: 0x%x\r\n");

							OBC_UART_RX[0] = 0x53;	//header
							OBC_UART_RX[1] = 0xac;	//packet_ type
							OBC_UART_RX[2] = 0x04;	//length of info
							OBC_UART_RX[3] = 0x02;	//mcu_no
							OBC_UART_RX[4] = 0xfc;	//false command
							OBC_UART_RX[5] = 0xee;	//error prefix
							obc_ilen = OBC_UART_RX[2];

							OBC_SUCCESS_DATA_RX_FLAG = 1;

							memset(main_gs_cmd, '\0', sizeof(main_gs_cmd));

						}
					} else if (DIGIPEATER_STATUS == 0) {
						if (main_gs_cmd[18] == 0xFD && main_gs_cmd[19] == 0xBA
								&& main_gs_cmd[20] == 0xD0) {

							BEACON_COUNT = 2;
							OBC_SUCCESS_DATA_RX_FLAG = 0;
							DIGIPEATER_STATUS = 0;
							DIGIPEATER_FLAG = 0;

							myDebug("\n-------> Digipeater MODE OFF\n\n");

							OBC_UART_RX[0] = 0x53;	//header
							OBC_UART_RX[1] = 0xac;	//packet_ type
							OBC_UART_RX[2] = 0x04;	//length of info
							OBC_UART_RX[3] = 0x02;	//mcu_no
							OBC_UART_RX[4] = 0x00;	//Digipeater OFF
							OBC_UART_RX[5] = 0xdd;	//Digipeater prefix
							obc_ilen = OBC_UART_RX[2];

							myDebug("\nCommand sent to OBC, Length: %d\r\n",
									gs_cmd_len);

							if (HAL_UART_Transmit(&huart2, main_gs_cmd,
									sizeof(main_gs_cmd), 2000) == HAL_OK
									|| HAL_UART_Transmit(&hlpuart1, main_gs_cmd,
											sizeof(main_gs_cmd), 2000)) {

								for (int i = 0; i < gs_cmd_len; i++) {
									myDebug("%02x ", main_gs_cmd[i]);
								}
								myDebug("\r\n");

								memset(main_gs_cmd, '\0', sizeof(main_gs_cmd));
								memset(rx_buffer, '\0', sizeof(rx_buffer));
								memset(temp_check_buff, '\0',
										sizeof(temp_check_buff));
								memset(crc_buff, '\0', sizeof(crc_buff));
								memset(gs_cmd_buff, '\0', sizeof(gs_cmd_buff));
							}

							OBC_SUCCESS_DATA_RX_FLAG = 1;

						} else if (main_gs_cmd[18] == 0xDF
								&& main_gs_cmd[19] == 0xAB
								&& main_gs_cmd[20] == 0xD1) {

							BEACON_COUNT = 0;
							OBC_SUCCESS_DATA_RX_FLAG = 0;
							DIGIPEATER_STATUS = 1;
							DIGIPEATER_RX_FLAG = 1;

							myDebug("\n-------> Digipeater MODE ON\n\n");

							OBC_UART_RX[0] = 0x53;	//header
							OBC_UART_RX[1] = 0xac;	//packet_ type
							OBC_UART_RX[2] = 0x04;	//length of info
							OBC_UART_RX[3] = 0x02;	//mcu_no
							OBC_UART_RX[4] = 0x01;	//Digipeater ON
							OBC_UART_RX[5] = 0xdd;	//Digipeater prefix
							obc_ilen = OBC_UART_RX[2];

							myDebug("\nCommand sent to OBC, Length: %d\r\n",
									gs_cmd_len);

							if (HAL_UART_Transmit(&huart2, main_gs_cmd,
									sizeof(main_gs_cmd), 2000) == HAL_OK
									|| HAL_UART_Transmit(&hlpuart1, main_gs_cmd,
											sizeof(main_gs_cmd), 2000)) {

								for (int i = 0; i < gs_cmd_len; i++) {
									myDebug("%02x ", main_gs_cmd[i]);
								}

								myDebug("\r\n");

								memset(main_gs_cmd, '\0', sizeof(main_gs_cmd));
								memset(rx_buffer, '\0', sizeof(rx_buffer));
								memset(temp_check_buff, '\0',
										sizeof(temp_check_buff));
								memset(crc_buff, '\0', sizeof(crc_buff));
								memset(gs_cmd_buff, '\0', sizeof(gs_cmd_buff));
							}

							OBC_SUCCESS_DATA_RX_FLAG = 1;

						} else if (main_gs_cmd[18] == 0x53
								&& main_gs_cmd[19] == 0x02
								&& main_gs_cmd[20] == 0x53) { // Digipeater Packet

							myDebug("\n********GS Command failed: 0x%x\r\n");

							OBC_UART_RX[0] = 0x53;	//header
							OBC_UART_RX[1] = 0xac;	//packet_ type
							OBC_UART_RX[2] = 0x04;	//length of info
							OBC_UART_RX[3] = 0x02;	//mcu_no
							OBC_UART_RX[4] = 0xfc;	//false command
							OBC_UART_RX[5] = 0xee;	//error prefix
							obc_ilen = OBC_UART_RX[2];

							OBC_SUCCESS_DATA_RX_FLAG = 1;

							memset(main_gs_cmd, '\0', sizeof(main_gs_cmd));

						} else {
							myDebug("\nCommand sent to OBC, Length: %d\r\n",
									gs_cmd_len);

							if (HAL_UART_Transmit(&huart2, main_gs_cmd,
									sizeof(main_gs_cmd), 2000) == HAL_OK
									|| HAL_UART_Transmit(&hlpuart1, main_gs_cmd,
											sizeof(main_gs_cmd), 2000)) {

								for (int i = 0; i < gs_cmd_len; i++) {
									myDebug("%02x ", main_gs_cmd[i]);
								}

								myDebug("\r\n");

								memset(main_gs_cmd, '\0', sizeof(main_gs_cmd));
								memset(rx_buffer, '\0', sizeof(rx_buffer));
								memset(temp_check_buff, '\0',
										sizeof(temp_check_buff));
								memset(crc_buff, '\0', sizeof(crc_buff));
								memset(gs_cmd_buff, '\0', sizeof(gs_cmd_buff));

								myDebug("\n\n_____OBC__RECEIVER_____\r\n");
							}

						}
					}
				}
			} else {
				myDebug("\n********GS Command checksum incorrect: 0x%x\r\n");

				OBC_UART_RX[0] = 0x53;	//header
				OBC_UART_RX[1] = 0xac;	//packet_ type
				OBC_UART_RX[2] = 0x04;	//length of info
				OBC_UART_RX[3] = 0x02;	//mcu_no
				OBC_UART_RX[4] = 0x01;	//checksum_error
				OBC_UART_RX[5] = 0xee;	//error prefix
				obc_ilen = OBC_UART_RX[2];

				OBC_SUCCESS_DATA_RX_FLAG = 1;
			}
		} else {
			myDebug(
					"\n********GS Command Not Complete 7e.....7e not received: 0x%x\r\n");

			OBC_UART_RX[0] = 0x53;	//header
			OBC_UART_RX[1] = 0xac;	//packet_ type
			OBC_UART_RX[2] = 0x04;	//length of info
			OBC_UART_RX[3] = 0x02;	//mcu_no
			OBC_UART_RX[4] = 0x00;	// packet error
			OBC_UART_RX[5] = 0xee;	//error prefix
			obc_ilen = OBC_UART_RX[2];

			OBC_SUCCESS_DATA_RX_FLAG = 1;
		}

		SUBGRF_SetRfFrequency(FREQ_435_MHZ);
		SUBGRF_SetSwitch(RFO_LP, RFSWITCH_RX); /*Set RF switch*/
		SUBGRF_SetRxBoosted(0xFFFFFF);

		HAL_UART_Receive_DMA(&huart2, OBC_UART_RX, obc_plen);

		HAL_UART_Receive_DMA(&hlpuart1, OBC_UART_RX, obc_plen);
	}

	if (radioIrq == IRQ_TX_DONE) {

		OBC_SUCCESS_DATA_RX_FLAG = 0;

		myDebug("\nSatellite Data Transmitted Successful, Length: %d\r\n",
				tx_buffer_len);
		for (int i = 0; i < tx_buffer_len; i++) {
			myDebug("%02x ", tx_buffer[i]);
		}
		myDebug("\r\n");

		memset(tx_buffer, '\0', sizeof(tx_buffer));

		if (PACKET_TYPE == 0xB1 || PACKET_TYPE == 0xB2) {
			BEACON_COUNT--;
			COUNT_BEACON--;
			PACKET_TYPE = 0;
		}

		if (DIGIPEATER_FLAG) {
			BEACON_COUNT = 2;
			OBC_SUCCESS_DATA_RX_FLAG = 0;
			DIGIPEATER_STATUS = 0;
			DIGIPEATER_FLAG = 0;
			DIGIPEATER_RX_FLAG = 0;
		}

		if (BEACON_COUNT == 0) {
			OBC_SUCCESS_DATA_RX_FLAG = 0;
			DIGIPEATER_STATUS = 1;
			myDebug("\n########## Digipeater Mode Configuration: ##########\n");
		} else {
			DIGIPEATER_STATUS = 0;
		}

		delay_us(500000);

		pkt_params.PacketType = PACKET_TYPE_GFSK;
		pkt_params.Params.Gfsk.PayloadLength = RX_BUFF_LENGTH;
		pkt_params.Params.Gfsk.PreambleLength = 8; /*Convert byte into bit*/
		pkt_params.Params.Gfsk.PreambleMinDetect =
				RADIO_PREAMBLE_DETECTOR_08_BITS;
		pkt_params.Params.Gfsk.SyncWordLength = 3 << 3; // convert byte into bit
		pkt_params.Params.Gfsk.AddrComp = RADIO_ADDRESSCOMP_FILT_OFF;
		pkt_params.Params.Gfsk.HeaderType = RADIO_PACKET_FIXED_LENGTH;
		pkt_params.Params.Gfsk.CrcLength = RADIO_CRC_2_BYTES_CCIT;
		pkt_params.Params.Gfsk.DcFree = RADIO_DC_FREEWHITENING;

		mod_params.PacketType = PACKET_TYPE_GFSK;
		mod_params.Params.Gfsk.Bandwidth = RX_BW_29300; /*Not used in TX*/
		mod_params.Params.Gfsk.BitRate = DEMO_DEFAULT_BR_1200;
		mod_params.Params.Gfsk.Fdev = DEMO_DEFAULT_FDEV_1200;
		mod_params.Params.Gfsk.ModulationShaping = MOD_SHAPING_G_BT_1;

		SUBGRF_Init(DioIrqHndlr);
		SUBGRF_SetBufferBaseAddress(0x00, 0x00);
		SUBGRF_SetPacketParams(&pkt_params);
		SUBGRF_SetSyncWord(( uint8_t[] ) { 0xC1, 0x94, 0xC1, 0x00, 0x00, 0x00,
						0x00, 0x00 });
		SUBGRF_SetWhiteningSeed(0x01FF);
		SUBGRF_SetRfFrequency(FREQ_435_MHZ);
		SUBGRF_SetPaConfig(PA_DUTY_CYCLE, HP_MAX, PA_SEL, 0x01);
		SUBGRF_SetTxParams(RFO_LP, POWER, RAMP_TIME); // Set to RFO_LP for low power
		SUBGRF_SetModulationParams(&mod_params);
		SUBGRF_SetDioIrqParams(
				IRQ_TX_DONE | IRQ_PREAMBLE_DETECTED | IRQ_RX_DONE
						| IRQ_RX_TX_TIMEOUT | IRQ_SYNCWORD_VALID,
				IRQ_TX_DONE | IRQ_PREAMBLE_DETECTED | IRQ_RX_DONE
						| IRQ_RX_TX_TIMEOUT | IRQ_SYNCWORD_VALID,
				IRQ_RADIO_NONE, IRQ_RADIO_NONE);

		myDebug("\n########## RX Configuration: ##########\n");

		myDebug("FREQUENCY MODS: UPLINK FREQ: %lu Hz\r\n", FREQ_435_MHZ);
		myDebug("Bit Rate: 	%d\n\r", mod_params.Params.Gfsk.BitRate);
		myDebug("Frequency Deviation: 	%d\n\r", mod_params.Params.Gfsk.Fdev);
		myDebug("RECEVING BANDWIDTH: 	%d\n\r",
				mod_params.Params.Gfsk.Bandwidth);
		myDebug("Packet Type 			%d\n\r", pkt_params.PacketType);
		myDebug("PayloadLength 			%d\n\r",
				pkt_params.Params.Gfsk.PayloadLength);
		myDebug("PreambleLength 		%d\n\r",
				pkt_params.Params.Gfsk.PreambleLength);
		myDebug("PreambleMinDetect		%d\n\r",
				pkt_params.Params.Gfsk.PreambleMinDetect);
		myDebug("HeaderType 			%d\n\r", pkt_params.Params.Gfsk.HeaderType);
		myDebug("__________*******************__________\r\n");

		SUBGRF_SetRfFrequency(FREQ_435_MHZ);
		SUBGRF_SetSwitch(RFO_LP, RFSWITCH_RX); /*Set RF switch*/
		SUBGRF_SetRxBoosted(0xFFFFFF);

		HAL_UART_Receive_DMA(&huart2, OBC_UART_RX, obc_plen);

		HAL_UART_Receive_DMA(&hlpuart1, OBC_UART_RX, obc_plen);

	}

}
/* USER CODE END 4 */

void Error_Handler(void) {
	__disable_irq();
	while (1) {
	}
}
